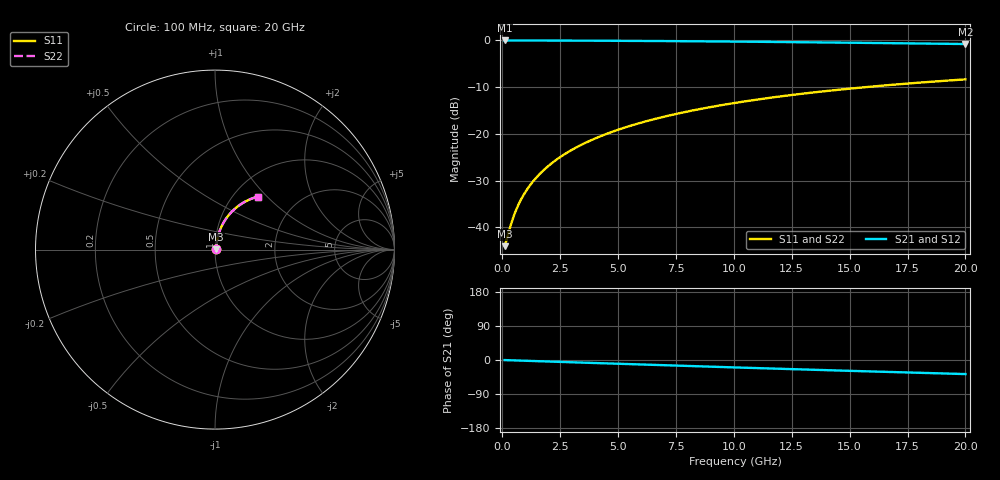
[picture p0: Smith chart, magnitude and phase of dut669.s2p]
! Touchstone file exported from HFSS 2026.1.0
!  File:  C:/ffzhzh/LocalFiles/Ansys_Project_Files/temp_train_TMRDL_669_1783009864_51716.aedt
!  Generated:  12:32:29 AM Jul  3, 2026
!  Design:  TMRDL
!  Project:  temp_train_TMRDL_669_1783009864_51716
! Variables:
!  h_bsmrdl = 2um
!  h_ox = 20um
!  h_rdl = 5um
!  h_sub = 80um
!  h_tmrdl = 2.51um
!  h_tsv = 80um
!  h_via = 3um
!  l_bsmrdl = 300um
!  l_sub = 918um
!  l_tmrdl = 518um
!  m_sub = 200um
!  pitch = 34.08um
!  r_tsv = 6um
!  s_tmrdl = 10um
!  w_bsmrdl = 18um
!  w_sub = 500um
!  w_tmrdl = 12.84um
!  x_tsv_center1 = 524.42um
!  x_tsv_center2 = 842.42um
!  x_tsv_center3 = 1373.26um
!  x_tsv_center4 = 1691.26um
!  x_tsv_center5 = 2222.1um
!  x_tsv_center6 = 2540.1um
# GHz S MA R 50.000000
! Terminal data exported
! Port[1] = TM_RDL1_1_T1
! Port[2] = TM_RDL1_1_T2
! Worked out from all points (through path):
!   200 points, 100 MHz to 20 GHz, reference 50 ohm
!   highest |S21| = -0.05 dB at 100 MHz (marker M1); lowest = -0.8 dB at 20 GHz (marker M2)
!   group delay of S21, straight-line fit = 5.17 ps
!   lowest |S11| = -44.0 dB at 100 MHz (marker M3), VSWR 1.01, Z = 50.6 + j0.241 ohm
!   |S11| at or under -10 dB: start of sweep to 15.76 GHz
!   |S22| runs from -44.0 to -8.4 dB; largest |S21 - S12| = 2e-15
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0.1  0.006279 22.2  0.9942 -0.2  0.9942 -0.2  0.006279 22.2
! Gamma 0 0 0 0
! Port Impedance 50 0 50 0
0.4  0.01124 56.5  0.9939 -0.8  0.9939 -0.8  0.01124 56.5
0.5  0.01328 61.3  0.9938 -1.0  0.9938 -1.0  0.01328 61.3
0.6  0.01537 64.6  0.9936 -1.2  0.9936 -1.2  0.01537 64.6
0.7  0.01749 67.1  0.9935 -1.4  0.9935 -1.4  0.01749 67.1
0.9  0.02174 70.5  0.9932 -1.8  0.9932 -1.8  0.02174 70.5
1.2  0.02817 73.6  0.9928 -2.4  0.9928 -2.4  0.02817 73.6
1.4  0.03247 74.9  0.9926 -2.8  0.9926 -2.8  0.03247 74.9
1.7  0.03895 76.2  0.9922 -3.4  0.9922 -3.4  0.03895 76.2
2.2  0.04979 77.3  0.9916 -4.4  0.9916 -4.4  0.04979 77.3
2.8  0.06283 77.7  0.9907 -5.6  0.9907 -5.6  0.06283 77.7
3.5  0.07803 77.4  0.9894 -7.0  0.9894 -7.0  0.07803 77.5
4.2  0.09316 76.8  0.9879 -8.4  0.9879 -8.4  0.09316 76.9
5  0.1103 75.9  0.9859 -9.9  0.9859 -9.9  0.1103 75.9
5.9  0.1294 74.6  0.9832 -11.7  0.9832 -11.7  0.1294 74.6
6.8  0.1483 73.2  0.9803 -13.4  0.9803 -13.4  0.1483 73.2
8.3  0.179 70.7  0.9745 -16.3  0.9745 -16.3  0.179 70.7
10.1  0.2146 67.6  0.9666 -19.7  0.9666 -19.7  0.2146 67.6
11.7  0.245 64.8  0.9587 -22.7  0.9587 -22.7  0.245 64.8
13.4  0.2759 61.8  0.9497 -25.8  0.9497 -25.8  0.2759 61.9
16.7  0.3315 56.2  0.9307 -31.6  0.9307 -31.6  0.3315 56.3
20  0.3813 50.8  0.9108 -37.1  0.9108 -37.1  0.3813 50.9
